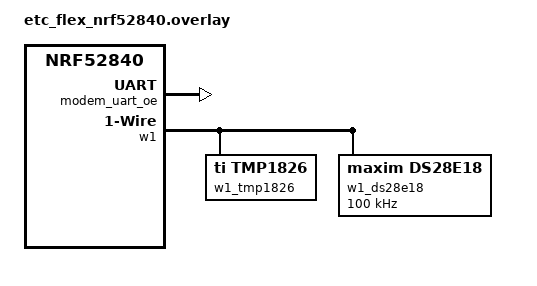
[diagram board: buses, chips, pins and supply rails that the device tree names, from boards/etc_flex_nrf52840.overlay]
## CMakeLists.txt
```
cmake_minimum_required(VERSION 3.13.1)

set(PM_STATIC_YML_FILE
  ${CMAKE_CURRENT_LIST_DIR}/boards/pm_static.yml
)

set(CONFIG_APPLICATION_DEFINED_SYSCALL true)
find_package(Zephyr REQUIRED HINTS $ENV{ZEPHYR_BASE})

project(etc_test)

target_sources(app PRIVATE src/main.c
    src/etc_test.c
    src/etc_cape.c
    src/modem.c
    src/gnss.c
    src/bluetooth.c
)
zephyr_cc_option(-Wfatal-errors)

zephyr_include_directories(src)

add_subdirectory(src/modules)
add_subdirectory(src/etc_devices)
```

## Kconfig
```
menu "EXACT Core 2.0 Test Application"

config TEST_VERSION
	string "Test version"
	default "v1.0.0"

config NTC_USE_TABLE
	bool "Use NTC table to converter from raw ADC to temperature"
	default y
	
config NTC_USE_OFFSET_1
	depends on NTC_USE_TABLE
	bool "Use NTC table with offset 1 deg in C"
	default y

config LORA_MSG_IN_HALL_EVENT
	bool "Trigger to send Lora Message when Hall sensor event"
	default n

config WDT_FEED_TIMEOUT_SECONDS
	int "Number of seconds that system will feed for WDT"
	default 1

config SERIAL_NUMBER_DEFAULT_VALUE
	int "The default serial number"
	default 10000000
	help
		Default value for serial number when type is EXACT Serial Number

endmenu

menu "Zephyr Kernel"
source "$ZEPHYR_BASE/Kconfig.zephyr"
endmenu

rsource "src/etc_devices/Kconfig"
rsource "src/modules/Kconfig"

module = ETC_TEST
module-str = ETC Test
source "${ZEPHYR_BASE}/subsys/logging/Kconfig.template.log_config"
```

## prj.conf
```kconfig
# General config
CONFIG_TEST_VERSION="v1.0.0"
CONFIG_NEWLIB_LIBC=y
CONFIG_NEWLIB_LIBC_FLOAT_PRINTF=y
CONFIG_ASSERT=y
CONFIG_REBOOT=y
CONFIG_RESET_ON_FATAL_ERROR=n
CONFIG_FPU=y
CONFIG_FW_INFO=y
CONFIG_CJSON_LIB=y

# Disable boot banner. printk outputs get dropped w/ usbcdc
CONFIG_BOOT_BANNER=n
# Heap and stacks
CONFIG_HEAP_MEM_POOL_SIZE=4096
CONFIG_MAIN_STACK_SIZE=4096
CONFIG_SYSTEM_WORKQUEUE_STACK_SIZE=2048

CONFIG_LOG=y

# Heap and stacks
CONFIG_HW_STACK_PROTECTION=y

# Settings, needed for Azure Device Provisioning Service
CONFIG_FLASH=y
CONFIG_FLASH_MAP=y
CONFIG_FLASH_SHELL=y
CONFIG_FCB=y
CONFIG_MPU_ALLOW_FLASH_WRITE=y

# Flash Settings
CONFIG_FLASH=y
CONFIG_FLASH_PAGE_LAYOUT=y
CONFIG_SOC_FLASH_NRF_UICR=y
CONFIG_FLASH_MAP=y
CONFIG_MPU_ALLOW_FLASH_WRITE=y
CONFIG_FLASH_JESD216_API=y
CONFIG_SPI=y
CONFIG_SPI_NOR=y

# CJSON
CONFIG_CJSON_LIB=y

CONFIG_ADC=y
CONFIG_ADC_MODULES=y
CONFIG_PCF85263_WATCHDOG_FEED_INTERNAL_SECONDS=10
CONFIG_PCF85263=y
CONFIG_DS2484=y
CONFIG_DS18B20=y
CONFIG_DS18B20_TIMER=y

# GUI over LED
CONFIG_UI_MODULE=y
CONFIG_UI_LED_USE_PWM=y
CONFIG_UI_LOG_LEVEL_WRN=y

CONFIG_SHELL=y
CONFIG_SHELL_VT100_COLORS=n
CONFIG_SHELL_LOG_LEVEL_INF=y

CONFIG_USB_DEVICE_STACK=y
CONFIG_USB_DEVICE_PRODUCT="ETC USB Shell"
CONFIG_SHELL_BACKEND_SERIAL_CHECK_DTR=y
CONFIG_UART_CONSOLE=y
CONFIG_CONSOLE=y
CONFIG_UART_LINE_CTRL=y
CONFIG_SHELL_BACKEND_SERIAL=y
CONFIG_SHELL_BACKEND_SERIAL_INIT_PRIORITY=51

CONFIG_SPI=y
CONFIG_GPIO=y
CONFIG_LORA=y
CONFIG_LORA_SX127X=y
CONFIG_LORA_LOG_LEVEL_WRN=y

# Enable peripheral
CONFIG_SPI=y
CONFIG_SPI_NOR=y

CONFIG_ADC=y
CONFIG_PWM=y
CONFIG_I2C=y

CONFIG_SENSOR=y

# Enable mcumgr.
CONFIG_NET_BUF=y
CONFIG_ZCBOR=y
CONFIG_CRC=y
CONFIG_MCUMGR=y

# Some command handlers require a large stack.
CONFIG_SYSTEM_WORKQUEUE_STACK_SIZE=2304
CONFIG_MAIN_STACK_SIZE=2048

# Enable flash operations.
CONFIG_FLASH=y

# Allow for large Bluetooth data packets.
CONFIG_BT_DEVICE_NAME="ETC-MCUMGR"
CONFIG_BT_L2CAP_TX_MTU=498
CONFIG_BT_BUF_ACL_RX_SIZE=502
CONFIG_BT_BUF_ACL_TX_SIZE=502
CONFIG_BT_CTLR_DATA_LENGTH_MAX=251

# Enable the Bluetooth mcumgr transport (unauthenticated).
CONFIG_BT=y
CONFIG_BT_PERIPHERAL=y
CONFIG_MCUMGR_TRANSPORT_BT=y
CONFIG_MCUMGR_TRANSPORT_BT_AUTHEN=n
CONFIG_MCUMGR_TRANSPORT_BT_CONN_PARAM_CONTROL=y

# Enable the Shell mcumgr transport.
CONFIG_MCUMGR_GRP_SHELL=y
CONFIG_MCUMGR_GRP_OS=y

# Enable the mcumgr Packet Reassembly feature over Bluetooth and its configuration dependencies.
# MCUmgr buffer size is optimized to fit one SMP packet divided into five Bluetooth Write Commands,
# transmitted with the maximum possible MTU value: 498 bytes.
CONFIG_MCUMGR_TRANSPORT_BT_REASSEMBLY=y
CONFIG_MCUMGR_TRANSPORT_NETBUF_SIZE=2475
CONFIG_MCUMGR_GRP_OS_MCUMGR_PARAMS=y
CONFIG_MCUMGR_TRANSPORT_WORKQUEUE_STACK_SIZE=4608

# Disable Bluetooth ping support
CONFIG_BT_CTLR_LE_PING=n

# Disable shell commands that are not needed
CONFIG_CLOCK_CONTROL_NRF_SHELL=n
CONFIG_DEVICE_SHELL=n
CONFIG_DEVMEM_SHELL=n

# Enable Power Management module
CONFIG_PM=y
CONFIG_PM_DEVICE=y
CONFIG_PM_DEVICE_RUNTIME=y

# Enable log debug
CONFIG_ETC_TEST_LOG_LEVEL_DBG=y
CONFIG_ETC_WATCHDOG_LOG_LEVEL_INF=y

# Enable Lora message when HALL trigger event
CONFIG_LORA_MSG_IN_HALL_EVENT=n

# Needed for RTC calibration
CONFIG_NRFX_TIMER1=y
CONFIG_NRFX_TIMER2=y
CONFIG_NRFX_EGU0=y

# Make sure etc_device is initialized before USB
CONFIG_ETC_DEVICE_INIT_PRIORITY=80
CONFIG_APPLICATION_INIT_PRIORITY=90
```

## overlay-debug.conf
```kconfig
# Enable log debug
CONFIG_ETC_WATCHDOG_LOG_LEVEL_DBG=y
CONFIG_WDT_FEED_TIMEOUT_SECONDS=300

CONFIG_BQ25618_LOG_LEVEL_DBG=y

CONFIG_SHELL_VT100_COLORS=y
```

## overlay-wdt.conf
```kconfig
# Enable log debug
CONFIG_ETC_WATCHDOG_LOG_LEVEL_DBG=y
CONFIG_WDT_FEED_TIMEOUT_SECONDS=300
```

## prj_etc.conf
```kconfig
# General config
CONFIG_TEST_VERSION="v1.0.0"
CONFIG_NEWLIB_LIBC=y
CONFIG_NEWLIB_LIBC_FLOAT_PRINTF=y
CONFIG_REBOOT=y
CONFIG_RESET_ON_FATAL_ERROR=n
CONFIG_FPU=y
CONFIG_FW_INFO=y
CONFIG_CJSON_LIB=y

# Disable boot banner. printk outputs get dropped w/ usbcdc
CONFIG_BOOT_BANNER=n

# Heap and stacks
CONFIG_HEAP_MEM_POOL_SIZE=4096
CONFIG_MAIN_STACK_SIZE=4096
CONFIG_SYSTEM_WORKQUEUE_STACK_SIZE=2048

CONFIG_LOG=y

# Heap and stacks
CONFIG_HW_STACK_PROTECTION=y

# Settings, needed for Azure Device Provisioning Service
CONFIG_FLASH=y
CONFIG_FLASH_MAP=y
CONFIG_FCB=y
CONFIG_MPU_ALLOW_FLASH_WRITE=y

# Flash Settings
CONFIG_FLASH=y
CONFIG_FLASH_PAGE_LAYOUT=y
CONFIG_SOC_FLASH_NRF_UICR=y
CONFIG_FLASH_MAP=y
CONFIG_MPU_ALLOW_FLASH_WRITE=y
CONFIG_FLASH_JESD216_API=y
CONFIG_SPI=y
CONFIG_SPI_NOR=y

# CJSON
CONFIG_CJSON_LIB=y

CONFIG_ADC_MODULES_SAMPLE_RATE_MSEC=30000
CONFIG_ADC_MODULES=y
CONFIG_BQ24195=y
CONFIG_PCF85263=y
CONFIG_DS2484=y
CONFIG_PCF85263_WATCHDOG_FEED_INTERNAL_SECONDS=10
CONFIG_DS18B20_TIMER=y

# GUI over LED
CONFIG_UI_MODULE=y
CONFIG_UI_LED_USE_PWM=y
CONFIG_UI_LOG_LEVEL_WRN=y

CONFIG_SHELL=y
CONFIG_SHELL_VT100_COLORS=n
CONFIG_SHELL_LOG_LEVEL_WRN=y

CONFIG_USB_DEVICE_STACK=y
CONFIG_USB_DEVICE_PRODUCT="ETC USB Shell"
CONFIG_SHELL_BACKEND_SERIAL_CHECK_DTR=y
CONFIG_UART_CONSOLE=y
CONFIG_CONSOLE=y
CONFIG_UART_LINE_CTRL=y
CONFIG_SHELL_BACKEND_SERIAL_INIT_PRIORITY=51

CONFIG_LORA=y
CONFIG_LORA_SX12XX=y
CONFIG_LORA_LOG_LEVEL_WRN=y

# Enable peripheral
CONFIG_SPI=y
CONFIG_SPI_NOR=y

CONFIG_ADC=y
CONFIG_PWM=y
CONFIG_I2C=y

CONFIG_SENSOR=y
```

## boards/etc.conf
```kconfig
CONFIG_BQ25618=y
CONFIG_BQ25618_LOG_LEVEL_DBG=y

# Partition Manager
CONFIG_PM_OVERRIDE_EXTERNAL_DRIVER_CHECK=y
CONFIG_PM_PARTITION_REGION_SETTINGS_STORAGE_EXTERNAL=n
CONFIG_PM_PARTITION_REGION_NVS_STORAGE_EXTERNAL=y

# MCUBOOT
CONFIG_BOOTLOADER_MCUBOOT=y
CONFIG_IMG_MANAGER=y
CONFIG_MCUBOOT_IMG_MANAGER=y
CONFIG_IMG_ERASE_PROGRESSIVELY=y

# Settings - Used to store real-time device configuration to flash.
CONFIG_SETTINGS=y
CONFIG_SETTINGS_FCB=y
CONFIG_FCB=y

# Non-volatile Storage
CONFIG_NVS=y


# Enable most core commands.
# CONFIG_STREAM_FLASH=y
# CONFIG_MCUMGR_GRP_IMG=y
# CONFIG_MCUMGR_GRP_OS=y
# CONFIG_STATS=y
# CONFIG_MCUMGR_GRP_STAT=y
# CONFIG_MCUMGR_GRP_SHELL=y
# # CONFIG_MCUMGR_TRANSPORT_UART=y
# CONFIG_MCUMGR_TRANSPORT_SHELL=y
# # Dummy shell backend is required for TRANSPORT_SHELL mcumgr option
# CONFIG_SHELL_BACKEND_DUMMY=y
# CONFIG_BASE64=y

# # enable storage erase for mcumgr (needed for OTA for BLE)
# CONFIG_MCUMGR_GRP_ZBASIC=y
# CONFIG_MCUMGR_GRP_ZBASIC_STORAGE_ERASE=y
```

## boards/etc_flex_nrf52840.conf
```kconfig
CONFIG_BQ25618=y

# Partition Manager
CONFIG_PM_OVERRIDE_EXTERNAL_DRIVER_CHECK=y
CONFIG_PM_PARTITION_REGION_SETTINGS_STORAGE_EXTERNAL=n
CONFIG_PM_PARTITION_REGION_NVS_STORAGE_EXTERNAL=y

# MCUBOOT
CONFIG_BOOTLOADER_MCUBOOT=y
CONFIG_IMG_MANAGER=y
CONFIG_MCUBOOT_IMG_MANAGER=y
CONFIG_IMG_ERASE_PROGRESSIVELY=y

# Settings - Used to store real-time device configuration to flash.
CONFIG_SETTINGS=y
CONFIG_SETTINGS_FCB=y
CONFIG_FCB=y

# Non-volatile Storage
CONFIG_NVS=y

CONFIG_SENSOR=y
CONFIG_W1=y
CONFIG_EXACT_DS2484=y
CONFIG_W1_NET=y
CONFIG_TMP1826=y

CONFIG_ONEWIRE_I2C=y
CONFIG_ONEWIRE_I2C_LOG_LEVEL_INF=y
CONFIG_SENSOR_SHELL=y
CONFIG_SHT31=y
CONFIG_SENSOR_LOG_LEVEL_DBG=y
CONFIG_SHT3XD_SINGLE_SHOT_MODE=y

# Enable most core commands.
# CONFIG_STREAM_FLASH=y
# CONFIG_MCUMGR_GRP_IMG=y
# CONFIG_MCUMGR_GRP_OS=y
# CONFIG_STATS=y
# CONFIG_MCUMGR_GRP_STAT=y
# CONFIG_MCUMGR_GRP_SHELL=y
# # CONFIG_MCUMGR_TRANSPORT_UART=y
# CONFIG_MCUMGR_TRANSPORT_SHELL=y
# # Dummy shell backend is required for TRANSPORT_SHELL mcumgr option
# CONFIG_SHELL_BACKEND_DUMMY=y
# CONFIG_BASE64=y

# # enable storage erase for mcumgr (needed for OTA for BLE)
# CONFIG_MCUMGR_GRP_ZBASIC=y
# CONFIG_MCUMGR_GRP_ZBASIC_STORAGE_ERASE=y
```

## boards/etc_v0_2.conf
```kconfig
CONFIG_BQ25618=y
CONFIG_BQ25618_LOG_LEVEL_DBG=y
```

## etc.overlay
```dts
/ {
	chosen {
		zephyr,shell-uart = &cdc_acm_uart0;
		zephyr,console = &cdc_acm_uart0;
	};
};

&zephyr_udc0 {
	cdc_acm_uart0: cdc_acm_uart0 {
		compatible = "zephyr,cdc-acm-uart";
		label = "CDC_ACM_0";
	};
};

/* A7 = P0.31 = AIN7 - ADC_AMB */ 
/* A3 = P0.5  = AIN3 - ADC_BATT*/
/* A2 = P0.4 = AIN2 - ADC_TH*/
/ {
	zephyr,user {
		/* adjust channel number according to pinmux in board.dts */
		io-channels = <&adc 7>, <&adc 3>, <&adc 2>;
	};
};
```

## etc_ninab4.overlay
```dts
/ {
	chosen {
		zephyr,shell-uart = &cdc_acm_uart0;
	};
};

&zephyr_udc0 {
	cdc_acm_uart0: cdc_acm_uart0 {
		compatible = "zephyr,cdc-acm-uart";
		label = "CDC_ACM_0";
	};
};

/* A0 = P0.04 = AIN2 */
/* A1 = P0.30 = AIN6 */
/* A2 = P0.5  = AIN3 */
/* A3 = P0.2  = AIN0 */
/* A4 = P0.28 = AIN4 */
/ {
	zephyr,user {
		/* adjust channel number according to pinmux in board.dts */
		io-channels = <&adc 2>, <&adc 6>, <&adc 3>, <&adc 0>, <&adc 4>;
	};
};
```

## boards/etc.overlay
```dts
/ {
	chosen {
		nordic,pm-ext-flash = &mx25r1635;
		zephyr,shell-uart = &cdc_acm_uart0;
		zephyr,console = &cdc_acm_uart0;
	};

	board-control {
		modem_uart_oe: modem-uart-oe {
			compatible = "etc,output";
			control-gpios = <&gpio0 30 GPIO_ACTIVE_LOW>;
			status = "okay";
		};
	};
};

zephyr_udc0: &usbd {
	cdc_acm_uart1 {
		status = "disabled";
	};
};
```

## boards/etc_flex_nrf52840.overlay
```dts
/ {
	chosen {
		nordic,pm-ext-flash = &mx25r1635;
		zephyr,shell-uart = &cdc_acm_uart0;
		zephyr,console = &cdc_acm_uart0;
	};

	board-control {
		modem_uart_oe: modem-uart-oe {
			compatible = "etc,output";
			control-gpios = <&gpio0 30 GPIO_ACTIVE_LOW>;
			status = "okay";
		};
	};

	aliases {
		rtc = &i2c0;
	};
};

&w1 {
	w1_tmp1826: w1_tmp1826 {
		compatible = "ti,tmp1826";
		family-code = <0x26>;
		resolution = <12>;
		status = "okay";
	};
	
	w1_ds28e18: w1_ds28e18 {
		compatible = "maxim,ds28e18";
		family-code = <0x56>;
		status = "okay";
		#address-cells = <1>;
		#size-cells = <0>;
		clock-frequency = <I2C_BITRATE_STANDARD>;
		sht31@44 {
			compatible = "sensirion,sht31";
			reg = <0x44>;
			status = "okay";
		};
	};
};

zephyr_udc0: &usbd {
	cdc_acm_uart1 {
		status = "disabled";
	};
};
```

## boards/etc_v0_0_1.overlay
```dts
/ {
	chosen {
		nordic,pm-ext-flash = &mx25r1635;
		zephyr,shell-uart = &cdc_acm_uart0;
		zephyr,console = &cdc_acm_uart0;
	};
};
```

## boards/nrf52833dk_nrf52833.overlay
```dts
&uart1 {
	compatible = "nordic,nrf-uarte";
	status = "okay";
	current-speed = <115200>;
	rx-pin = <17>;
	tx-pin = <19>;

	quectel_bg95 {
		compatible = "etc,quectel-bg95";
		label      = "quectel-bg95";
		status     = "okay";
	};
};
```

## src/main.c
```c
#include <zephyr/kernel.h>
#include <zephyr/shell/shell.h>
#include <version.h>
#include <zephyr/logging/log.h>
#include <stdlib.h>
#include <zephyr/drivers/uart.h>
#include <zephyr/drivers/gpio.h>
#include <zephyr/usb/usb_device.h>
#include <ctype.h>
#include <zephyr/pm/pm.h>
#include <zephyr/pm/device.h>
#include <zephyr/pm/policy.h>

#ifdef CONFIG_MCUMGR_CMD_OS_MGMT
#include <zephyr/mgmt/mcumgr/grp/os_mgmt/os_mgmt.h>
#endif
#ifdef CONFIG_MCUMGR_CMD_SHELL_MGMT
#include <zephyr/mgmt/mcumgr/grp/shell_mgmt/shell_mgmt.h>
#endif

#include "pcf85263a.h"
#include "adc.h"
#include "ds18b20.h"
#include "etc_cape.h"
#include "etc_device.h"
#include "watchdog.h"
#include "rtc_calib.h"
#include <zephyr/logging/log.h>
LOG_MODULE_REGISTER(main, CONFIG_ETC_TEST_LOG_LEVEL);

BUILD_ASSERT(DT_NODE_HAS_COMPAT(DT_CHOSEN(zephyr_console), zephyr_cdc_acm_uart),
	     "Console device is not ACM CDC UART device");

static void app_driver_init(void) {
	pcf85263a_init("I2C_0");
	pcf85263a_set_interrupt_io(true);
	pcf85263a_set_clkpin(false);
	rtc_calib_init();
}

char key[] = "ElL10TaC4T";

void main(void)
{
	etc_cape_init(key, 10, 0);
	etc_cape_set_key(key, 10); 
	uint32_t dtr = 0;
	const struct device *dev = DEVICE_DT_GET(DT_CHOSEN(zephyr_shell_uart));
	if (!device_is_ready(dev) || usb_enable(NULL)) {
		return;
	}

	app_driver_init();

	while (!dtr) {
		uart_line_ctrl_get(dev, UART_LINE_CTRL_DTR, &dtr);
		k_sleep(K_MSEC(100));
	}

	extern void etc_test_init(void);
	etc_test_init();
	while(1) {
		k_sleep(K_FOREVER);
	}
}
```

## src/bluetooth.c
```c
#include <zephyr/bluetooth/bluetooth.h>
#include <zephyr/bluetooth/conn.h>
#include <zephyr/bluetooth/gatt.h>
#include <zephyr/mgmt/mcumgr/transport/smp_bt.h>

#define LOG_LEVEL LOG_LEVEL_DBG
#include <zephyr/logging/log.h>
LOG_MODULE_REGISTER(smp_bt);

static struct k_work advertise_work;

static const struct bt_data ad[] = {
	BT_DATA_BYTES(BT_DATA_FLAGS, (BT_LE_AD_GENERAL | BT_LE_AD_NO_BREDR)),
	BT_DATA_BYTES(BT_DATA_UUID128_ALL,
		      0x84, 0xaa, 0x60, 0x74, 0x52, 0x8a, 0x8b, 0x86,
		      0xd3, 0x4c, 0xb7, 0x1d, 0x1d, 0xdc, 0x53, 0x8d),
};

static void advertise(struct k_work *work)
{
	int rc;

	bt_le_adv_stop();

	rc = bt_le_adv_start(BT_LE_ADV_CONN_NAME, ad, ARRAY_SIZE(ad), NULL, 0);
	if (rc) {
		LOG_ERR("Advertising failed to start (rc %d)", rc);
		return;
	}

	LOG_INF("Advertising successfully started");
}

static void connected(struct bt_conn *conn, uint8_t err)
{
	if (err) {
		LOG_ERR("Connection failed (err 0x%02x)", err);
	} else {
		LOG_INF("Connected");
	}
}

static void disconnected(struct bt_conn *conn, uint8_t reason)
{
	LOG_INF("Disconnected (reason 0x%02x)", reason);
	k_work_submit(&advertise_work);
}

BT_CONN_CB_DEFINE(conn_callbacks) = {
	.connected = connected,
	.disconnected = disconnected,
};

static void bt_ready(int err)
{
	if (err) {
		LOG_ERR("Bluetooth init failed (err %d)", err);
		return;
	}

	LOG_INF("Bluetooth initialized");

	k_work_submit(&advertise_work);
}

void start_smp_bluetooth(void)
{
	k_work_init(&advertise_work, advertise);

	/* Enable Bluetooth. */
	int rc = bt_enable(bt_ready);

	if (rc != 0) {
		LOG_ERR("Bluetooth init failed (err %d)", rc);
		return;
	}

	/* Initialize the Bluetooth mcumgr transport. */
	smp_bt_register();
}

static void ble_cb(struct bt_conn *conn, void *data)
{
	bt_conn_disconnect(conn, BT_HCI_ERR_REMOTE_LOW_RESOURCES);
}

void stop_smp_bluetooth(void) {
	bt_conn_foreach(BT_CONN_TYPE_ALL, ble_cb, NULL);
	bt_le_adv_stop();
	bt_disable();
}
```

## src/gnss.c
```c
#include <getopt.h>
#include <stdio.h>
#include <unistd.h>
#include <zephyr/drivers/uart.h>
#include <zephyr/drivers/gpio.h>
#include <zephyr/kernel.h>
#include <zephyr/shell/shell.h>
#include <zephyr/shell/shell_uart.h>
#include <zephyr/drivers/uart.h>

#if DT_NODE_HAS_STATUS(DT_NODELABEL(uart0), okay)
static const struct device *uart0_dev = DEVICE_DT_GET(DT_NODELABEL(uart0));

K_MSGQ_DEFINE(uart0_msgq, 128, 10, 4);

static const char at_cmd_usage_str[] =
    "Usage: gnss <sub-command>\n"
    "\n"
    "where <command> is one of the following:\n"
    "  help:   Show this message\n"
    "  send:   Send GNSS command\n";

static char rx_buf[128];
static int rx_buf_pos;

static void at_send_uart(char *buf)
{
	int msg_len = strlen(buf);

	for (int i = 0; i < msg_len; i++)
	{
		uart_poll_out(uart0_dev, buf[i]);
	}
	uart_poll_out(uart0_dev, '\r');
	uart_poll_out(uart0_dev, '\n');
}

static void serial_cb(const struct device *dev, void *user_data)
{
	uint8_t c;

	if (!uart_irq_update(uart0_dev))
	{
		return;
	}

	while (uart_irq_rx_ready(uart0_dev))
	{
		uart_fifo_read(uart0_dev, &c, 1);

		if ((c == '\n' || c == '\r') && rx_buf_pos > 0)
		{
			rx_buf[rx_buf_pos] = '\0';

			/* if queue is full, message is silently dropped */
			k_msgq_put(&uart0_msgq, &rx_buf, K_NO_WAIT);

			/* reset the buffer (it was copied to the msgq) */
			rx_buf_pos = 0;
		}
		else if (rx_buf_pos < (sizeof(rx_buf) - 1))
		{
			rx_buf[rx_buf_pos++] = c;
		}
		/* else: characters beyond buffer size are dropped */
	}
}

void gnss_init()
{
	const struct shell *shell = shell_backend_uart_get_ptr();

#if DT_NODE_HAS_STATUS(DT_NODELABEL(uart0), okay)
	if (!device_is_ready(uart0_dev))
	{
		printk("UART device not found!");
		return;
	}

	uart_irq_callback_user_data_set(uart0_dev, serial_cb, NULL);
	uart_irq_rx_enable(uart0_dev);

	char tx_buf[128];

	while (k_msgq_get(&uart0_msgq, &tx_buf, K_FOREVER) == 0)
	{
		shell_fprintf(shell, SHELL_NORMAL, "%s", tx_buf);
	}
#endif
}

K_THREAD_DEFINE(gnss, 2048, gnss_init, NULL, NULL, NULL, 6, 0, 0);
#endif
```

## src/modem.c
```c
#include <getopt.h>
#include <stdio.h>
#include <unistd.h>
#include <stdlib.h>
#include <zephyr/shell/shell.h>
#include <zephyr/shell/shell_uart.h>
#include <zephyr/drivers/uart.h>
#include <zephyr/drivers/gpio.h>
#include <zephyr/kernel.h>
#include <zephyr/logging/log.h>

LOG_MODULE_REGISTER(modem, CONFIG_ETC_TEST_LOG_LEVEL);

static const struct device *uart_dev = DEVICE_DT_GET(DT_PARENT(DT_NODELABEL(quectel_bg95)));

#define RX_BUF_SIZE	128

K_MSGQ_DEFINE(uart_msgq, RX_BUF_SIZE, 10, 4);

#if DT_NODE_HAS_PROP(DT_NODELABEL(quectel_bg95), mdm_on_off_gpios)
static const struct gpio_dt_spec lte_on_off_gpio_dt =
		GPIO_DT_SPEC_GET(DT_NODELABEL(quectel_bg95), mdm_on_off_gpios);
#endif
static const struct gpio_dt_spec power_gpio_dt =
		GPIO_DT_SPEC_GET(DT_NODELABEL(quectel_bg95), mdm_power_gpios);
static const struct gpio_dt_spec pon_trig_gpio_dt =
		GPIO_DT_SPEC_GET(DT_NODELABEL(quectel_bg95), mdm_pon_trig_gpios);
static const struct gpio_dt_spec psm_ind_gpio_dt =
		GPIO_DT_SPEC_GET(DT_NODELABEL(quectel_bg95), mdm_psm_ind_gpios);
#if DT_NODE_EXISTS(DT_NODELABEL(modem_uart_oe))
static const struct gpio_dt_spec modem_uart_oe_dt =
		GPIO_DT_SPEC_GET_OR(DT_NODELABEL(modem_uart_oe), control_gpios, 0);
#endif

static const char at_cmd_usage_str[] =
    "Usage: at <sub-command>\n"
    "\n"
    "where <command> is one of the following:\n"
    "  help:   Show this message\n"
    "  send:   Send AT command\n";

static char rx_buf[RX_BUF_SIZE];
static int rx_buf_pos;

static void at_send_uart(char *buf)
{
	int msg_len = strlen(buf);

	for (int i = 0; i < msg_len; i++)
	{
		uart_poll_out(uart_dev, buf[i]);
	}
	uart_poll_out(uart_dev, '\r');
	uart_poll_out(uart_dev, '\n');
}

static void serial_cb(const struct device *dev, void *user_data)
{
	uint8_t c;

	if (!uart_irq_update(uart_dev))
	{
		return;
	}

	while (uart_irq_rx_ready(uart_dev))
	{
		uart_fifo_read(uart_dev, &c, 1);

		if ((c == '\n' || c == '\r') && rx_buf_pos > 0)
		{
			rx_buf[rx_buf_pos] = '\0';

			/* if queue is full, message is silently dropped */
			k_msgq_put(&uart_msgq, &rx_buf, K_NO_WAIT);

			/* reset the buffer (it was copied to the msgq) */
			rx_buf_pos = 0;
		}
		else if (rx_buf_pos < (sizeof(rx_buf) - 1))
		{
			rx_buf[rx_buf_pos++] = c;
		}
		/* else: characters beyond buffer size are dropped */
	}
}

static int at_shell_cmd(const struct shell *shell, size_t argc, char **argv)
{
	int ret = 0;

	if (argc < 2)
	{
		goto show_usage;
	}

	if (strcmp(argv[1], "send") == 0)
	{
		shell_print(shell, "Send command: %s", argv[2]);
		at_send_uart(argv[2]);
	}
	else if (strcmp(argv[1], "help") == 0)
	{
		goto show_usage;
	}
	else
	{
		shell_print(shell, "Unsupported command=%s", argv[1]);
		ret = -EINVAL;
		goto show_usage;
	}

	return 0;

show_usage:
	shell_print(shell, "%s", at_cmd_usage_str);

	return 0;
}

SHELL_CMD_REGISTER(at, NULL, "Commands for interact with modem.",
		   at_shell_cmd);

static int cmd_modem_gpio_set(const struct shell *shell, size_t argc, char **argv)
{
	int enable;

	if (argc != 3)
	{
		goto error;
	}

	if (strcmp(argv[1], "uart_oe") == 0)
	{
#if DT_NODE_EXISTS(DT_NODELABEL(modem_uart_oe))
		enable = atoi(argv[1]);
		gpio_pin_set_dt(&modem_uart_oe_dt, enable);
#else
		shell_print(shell, "Not supported");
		return -ENOTSUP;
#endif
	}
	else if (strcmp(argv[1], "pwrkey") == 0)
	{
		gpio_pin_set_dt(&power_gpio_dt, 1U);
		k_sleep(K_MSEC(1000));
		gpio_pin_set_dt(&power_gpio_dt, 0U);
	}
	else if (strcmp(argv[1], "on_off") == 0)
	{
		enable = atoi(argv[1]);
#if DT_NODE_HAS_PROP(DT_NODELABEL(quectel_bg95), mdm_on_off_gpios)
		gpio_pin_set_dt(&lte_on_off_gpio_dt, enable);
#endif
	} else {
		goto error;
	}

	return 0;

error:
	shell_print(shell, "Usage:\n"
			   "%s <pin> 0/1\n"
			   "  valid pins:\n"
			   "  - uart_oe\n"
			   "  - pwrkey (this triggers the full sequence)\n"
			   "  - on_off",
		    argv[0]);
	return -1;
}

SHELL_CMD_ARG_REGISTER(etc_modem_gpio_set, NULL, 
		       "Enable/disable modem UART logic translator", 
		       cmd_modem_gpio_set, 1, 2);

static void pin_init(void)
{
#if DT_NODE_HAS_PROP(DT_NODELABEL(quectel_bg95), mdm_on_off_gpios)
	gpio_pin_configure_dt(&lte_on_off_gpio_dt, GPIO_OUTPUT_ACTIVE);
#endif
	gpio_pin_configure_dt(&power_gpio_dt, GPIO_OUTPUT);
	gpio_pin_set_dt(&power_gpio_dt, 0U);
	k_sleep(K_MSEC(500));
	gpio_pin_set_dt(&power_gpio_dt, 1U);
	k_sleep(K_MSEC(1000));
	gpio_pin_set_dt(&power_gpio_dt, 0U);
	k_sleep(K_MSEC(1000));
#if DT_NODE_EXISTS(DT_NODELABEL(modem_uart_oe))
	gpio_pin_configure_dt(&modem_uart_oe_dt, GPIO_OUTPUT_ACTIVE);
#endif
	LOG_INF("IO Done");
}

void modem_init()
{
	pin_init();

	const struct shell *shell = shell_backend_uart_get_ptr();

	uart_irq_callback_user_data_set(uart_dev, serial_cb, NULL);
	uart_irq_rx_enable(uart_dev);

	char tx_buf[32];

	while (k_msgq_get(&uart_msgq, &tx_buf, K_FOREVER) == 0)
	{
		shell_print(shell, "%s", tx_buf);
	}
}

K_THREAD_DEFINE(modem, 1024, modem_init, NULL, NULL, NULL, 5, 0, 0);
```
